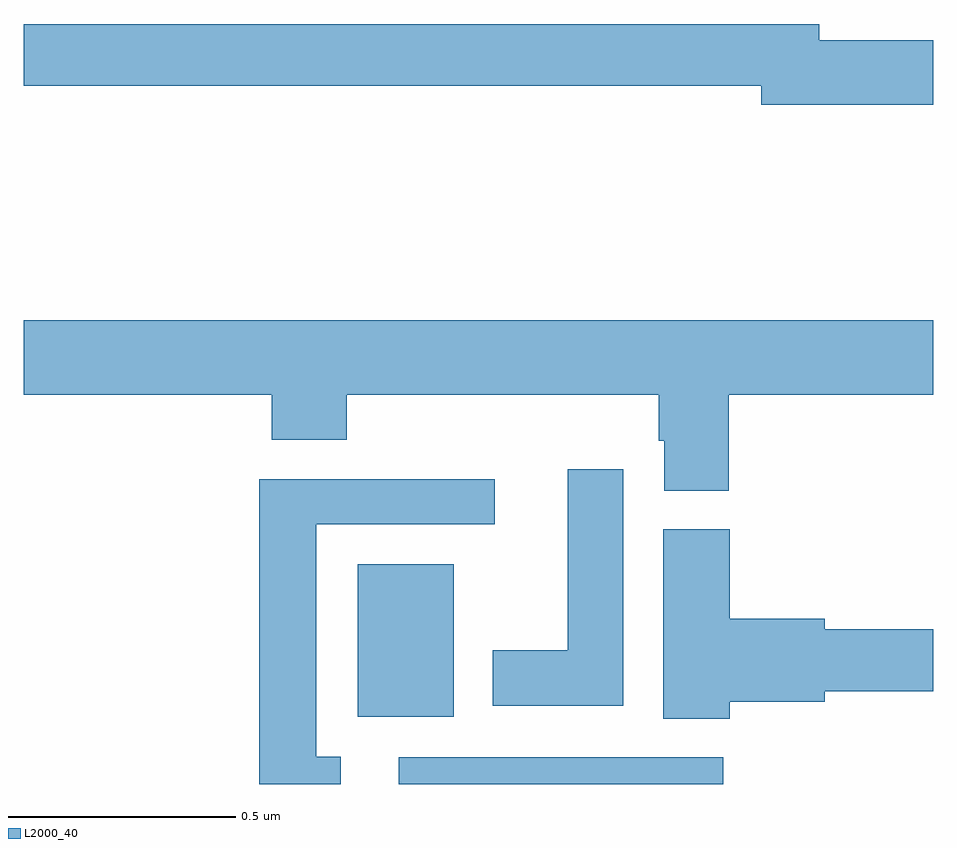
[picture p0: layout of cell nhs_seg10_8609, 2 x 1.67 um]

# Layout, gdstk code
import gdstk
lib = gdstk.Library(unit=1e-6, precision=1e-09)
def R(c, l, rs):  # rectangles x0, y0, x1, y1
    for r in rs: c.add(gdstk.rectangle(r[:2], r[2:], *l))
def P(c, l, *ps):  # polygons
    for p in ps: c.add(gdstk.Polygon(p, *l))
L2000_40 = (2000, 40)

nhs_seg10_8609 = lib.new_cell('nhs_seg10_8609')
R(nhs_seg10_8609, L2000_40, [(219.825,1259.5,220.538,1259.559), (219.734,1259.648,219.946,1259.983)])
P(nhs_seg10_8609, L2000_40, [(221,1261.136),(220.75,1261.136),(220.75,1261.172),(219,1261.172),(219,1261.036),(220.622,1261.036),(220.622,1260.994),(221,1260.994)],
  [(220.55,1260.356),(221,1260.356),(221,1260.52),(219,1260.52),(219,1260.356),(219.545,1260.356),(219.545,1260.257),(219.71,1260.257),(219.71,1260.356),(220.397,1260.356),(220.397,1260.255),(220.409,1260.255),(220.409,1260.145),(220.55,1260.145)],
  [(220.318,1260.193),(220.196,1260.193),(220.196,1259.794),(220.031,1259.794),(220.031,1259.672),(220.318,1259.672)],
  [(219.697,1259.56),(219.643,1259.56),(219.643,1260.072),(220.036,1260.072),(220.036,1260.17),(219.518,1260.17),(219.518,1259.5),(219.697,1259.5)],
  [(220.553,1259.681),(220.762,1259.681),(220.762,1259.704),(221,1259.704),(221,1259.84),(220.762,1259.84),(220.762,1259.864),(220.553,1259.864),(220.553,1260.06),(220.406,1260.06),(220.406,1259.644),(220.553,1259.644)])

lib.write_gds('nhs_seg10_8609.gds')
